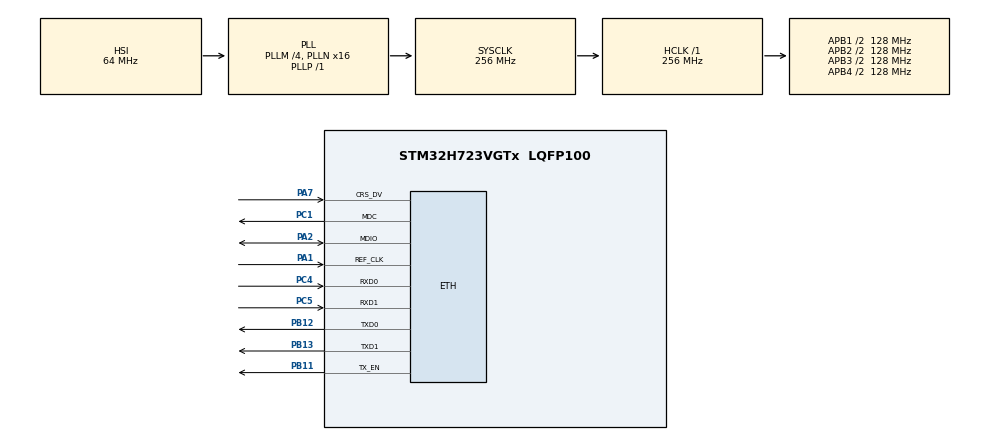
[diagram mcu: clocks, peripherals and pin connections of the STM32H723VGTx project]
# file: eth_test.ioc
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CORTEX_M7.AccessPermission_S-Cortex_Memory_Protection_Unit_Region1_Settings_S=MPU_REGION_FULL_ACCESS
CORTEX_M7.AccessPermission_S-Cortex_Memory_Protection_Unit_Region2_Settings_S=MPU_REGION_FULL_ACCESS
CORTEX_M7.BaseAddress_S-Cortex_Memory_Protection_Unit_Region1_Settings_S=0x30000000
CORTEX_M7.BaseAddress_S-Cortex_Memory_Protection_Unit_Region2_Settings_S=0x30000000
CORTEX_M7.CPU_DCache=Enabled
CORTEX_M7.CPU_ICache=Enabled
CORTEX_M7.DisableExec_S-Cortex_Memory_Protection_Unit_Region1_Settings_S=MPU_INSTRUCTION_ACCESS_DISABLE
CORTEX_M7.DisableExec_S-Cortex_Memory_Protection_Unit_Region2_Settings_S=MPU_INSTRUCTION_ACCESS_DISABLE
CORTEX_M7.Enable_S-Cortex_Memory_Protection_Unit_Region1_Settings_S=MPU_REGION_ENABLE
CORTEX_M7.Enable_S-Cortex_Memory_Protection_Unit_Region2_Settings_S=MPU_REGION_ENABLE
CORTEX_M7.IsBufferable_S-Cortex_Memory_Protection_Unit_Region2_Settings_S=MPU_ACCESS_BUFFERABLE
CORTEX_M7.IsShareable_S-Cortex_Memory_Protection_Unit_Region2_Settings_S=MPU_ACCESS_SHAREABLE
CORTEX_M7.Size_S-Cortex_Memory_Protection_Unit_Region1_Settings_S=MPU_REGION_SIZE_32KB
CORTEX_M7.Size_S-Cortex_Memory_Protection_Unit_Region2_Settings_S=MPU_REGION_SIZE_512B
CORTEX_M7.TypeExtField_S-Cortex_Memory_Protection_Unit_Region1_Settings_S=MPU_TEX_LEVEL1
CORTEX_M7.default_mode_Activation=1
ETH.MACAddr=68\:80\:E1\:00\:00\:00
ETH.MediaInterface=HAL_ETH_RMII_MODE
ETH.TxDescAddress=0x30000100
FREERTOS.INCLUDE_eTaskGetState=1
FREERTOS.Tasks01=defaultTask,0,1024,StartDefaultTask,Default,NULL,Dynamic,NULL,NULL;EtherRecvTask,-3,128,StartEtherRecv,Default,NULL,Dynamic,NULL,NULL
FREERTOS.configENABLE_FPU=1
FREERTOS.configGENERATE_RUN_TIME_STATS=1
FREERTOS.configRECORD_STACK_HIGH_ADDRESS=1
FREERTOS.configTOTAL_HEAP_SIZE=32768
FREERTOS.configUSE_STATS_FORMATTING_FUNCTIONS=1
FREERTOS.configUSE_TRACE_FACILITY=1
LWIP.BSP.number=1
LWIP.GATEWAY_ADDRESS=192.168.008.001
LWIP.IP_ADDRESS=192.168.008.005
LWIP.LWIP_DHCP=0
LWIP.LWIP_RAM_HEAP_POINTER=0x30005000
LWIP.LWIP_UDP=0
LWIP.MEM_SIZE=10000
LWIP.NETMASK_ADDRESS=255.255.255.000
LWIP.Version=v2.1.2_Cube
LWIP0.BSP.STBoard=false
LWIP0.BSP.api=BSP_COMPONENT_DRIVER
LWIP0.BSP.component=LAN8742
LWIP0.BSP.instance=LAN8742
LWIP0.BSP.name=Driver_PHY
LWIP0.BSP.semaphore=S_LAN8742
LWIP0.BSP.solution=LAN8742
Mcu.Family=STM32H7
Mcu.Name=STM32H723VGTx
Mcu.Package=LQFP100
NVIC.ETH_IRQn=true\:5\:0\:false\:false\:true\:true\:true\:true\:true
NVIC.PriorityGroup=NVIC_PRIORITYGROUP_4
NVIC.TIM2_IRQn=true\:15\:0\:false\:false\:true\:false\:false\:true\:true
NVIC.TIM3_IRQn=true\:5\:0\:true\:false\:true\:true\:true\:true\:true
NVIC.TimeBase=TIM2_IRQn
NVIC.TimeBaseIP=TIM2
PA1.GPIO_Speed=GPIO_SPEED_FREQ_VERY_HIGH
PA1.Mode=RMII
PA1.Signal=ETH_REF_CLK
PA13(JTMS/SWDIO).Mode=Serial_Wire
PA13(JTMS/SWDIO).Signal=DEBUG_JTMS-SWDIO
PA14(JTCK/SWCLK).Mode=Serial_Wire
PA14(JTCK/SWCLK).Signal=DEBUG_JTCK-SWCLK
PA2.GPIO_Speed=GPIO_SPEED_FREQ_VERY_HIGH
PA2.Mode=RMII
PA2.Signal=ETH_MDIO
PA7.GPIO_Speed=GPIO_SPEED_FREQ_VERY_HIGH
PA7.Mode=RMII
PA7.Signal=ETH_CRS_DV
PB11.GPIO_Speed=GPIO_SPEED_FREQ_VERY_HIGH
PB11.Mode=RMII
PB11.Signal=ETH_TX_EN
PB12.GPIO_Speed=GPIO_SPEED_FREQ_VERY_HIGH
PB12.Mode=RMII
PB12.Signal=ETH_TXD0
PB13.GPIO_Speed=GPIO_SPEED_FREQ_VERY_HIGH
PB13.Mode=RMII
PB13.Signal=ETH_TXD1
PC1.GPIO_Speed=GPIO_SPEED_FREQ_VERY_HIGH
PC1.Mode=RMII
PC1.Signal=ETH_MDC
PC4.GPIO_Speed=GPIO_SPEED_FREQ_VERY_HIGH
PC4.Mode=RMII
PC4.Signal=ETH_RXD0
PC5.GPIO_Speed=GPIO_SPEED_FREQ_VERY_HIGH
PC5.Mode=RMII
PC5.Signal=ETH_RXD1
PH0-OSC_IN.Mode=HSE-External-Oscillator
PH0-OSC_IN.Signal=RCC_OSC_IN
PH1-OSC_OUT.Mode=HSE-External-Oscillator
PH1-OSC_OUT.Signal=RCC_OSC_OUT
ProjectManager.HeapSize=0x1500
ProjectManager.StackSize=0x800
ProjectManager.TargetToolchain=Makefile
RCC.ADCFreq_Value=129000000
RCC.APB1Freq_Value=128000000
RCC.APB2Freq_Value=128000000
RCC.APB3Freq_Value=128000000
RCC.APB4Freq_Value=128000000
RCC.CortexFreq_Value=256000000
RCC.D1PPRE=RCC_APB3_DIV2
RCC.D2PPRE1=RCC_APB1_DIV2
RCC.D2PPRE2=RCC_APB2_DIV2
RCC.D3PPRE=RCC_APB4_DIV2
RCC.DIVM1=4
RCC.DIVN1=16
RCC.DIVP1=1
RCC.HCLKFreq_Value=256000000
RCC.HSICalibrationValue=32
RCC.PLL2FRACN=0
RCC.PLL3FRACN=0
RCC.PLLFRACN=0
RCC.PWR_Regulator_Voltage_Scale=PWR_REGULATOR_VOLTAGE_SCALE0
RCC.SYSCLKFreq_VALUE=256000000
RCC.SYSCLKSource=RCC_SYSCLKSOURCE_PLLCLK
RCC.USBFreq_Value=128000000
TIM3.AutoReloadPreload=TIM_AUTORELOAD_PRELOAD_ENABLE
TIM3.Period=50-1
TIM3.Prescaler=256-1
VP_FREERTOS_VS_CMSIS_V1.Mode=CMSIS_V1
VP_LWIP_VS_Enabled.Mode=Enabled
VP_SYS_VS_tim2.Mode=TIM2
VP_TIM3_VS_ClockSourceINT.Mode=Internal
board=custom

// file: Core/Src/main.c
/* USER CODE BEGIN Header */
/**
  ******************************************************************************
  * @file           : main.c
  * @brief          : Main program body
  ******************************************************************************
  * @attention
  *
  * Copyright (c) 2023 STMicroelectronics.
  * All rights reserved.
  *
  * This software is licensed under terms that can be found in the LICENSE file
  * in the root directory of this software component.
  * If no LICENSE file comes with this software, it is provided AS-IS.
  *
  ******************************************************************************
  */
/* USER CODE END Header */
#include "main.h"
#include "cmsis_os.h"
#include "lwip.h"
#include "tim.h"
#include "gpio.h"

/* USER CODE BEGIN Includes */
#include "bsp_log.h"
#include "tim_for_freertos.h"
/* USER CODE END Includes */

void SystemClock_Config(void);
static void MPU_Initialize(void);
static void MPU_Config(void);
void MX_FREERTOS_Init(void);
/* USER CODE BEGIN PFP */
// #define printf(...) print_log(sprintf((char*)u_buf,__VA_ARGS__))
/* USER CODE END PFP */

int main(void)
{

  /* Enable I-Cache---------------------------------------------------------*/
  SCB_EnableICache();

  /* Enable D-Cache---------------------------------------------------------*/
  SCB_EnableDCache();

  /* MCU Configuration--------------------------------------------------------*/

  /* Reset of all peripherals, Initializes the Flash interface and the Systick. */
  HAL_Init();

  /* MPU Configuration--------------------------------------------------------*/
  MPU_Config();

  /* Configure the system clock */
  SystemClock_Config();

  /* Initialize all configured peripherals */
  MX_GPIO_Init();
  MX_TIM3_Init();
  /* USER CODE BEGIN 2 */
  segger_rtt_init("RTT INIT\n");
  SEGGER_SYSVIEW_Conf();
  // printf("test\n");
  // LWIP_ASSERT("netif != NULL", (0));
  // LWIP_DEBUGF("as\n");
  // fputc(1)
  /* USER CODE END 2 */

  /* Call init function for freertos objects (in freertos.c) */
  MX_FREERTOS_Init();

  /* Start scheduler */
  osKernelStart();

  /* We should never get here as control is now taken by the scheduler */
  /* Infinite loop */
  while (1)
  {

    /* USER CODE BEGIN 3 */
    // MX_LWIP_Process();
  }
  /* USER CODE END 3 */
}

void SystemClock_Config(void)
{
  RCC_OscInitTypeDef RCC_OscInitStruct = {0};
  RCC_ClkInitTypeDef RCC_ClkInitStruct = {0};

  /** Supply configuration update enable
  */
  HAL_PWREx_ConfigSupply(PWR_LDO_SUPPLY);

  /** Configure the main internal regulator output voltage
  */
  __HAL_PWR_VOLTAGESCALING_CONFIG(PWR_REGULATOR_VOLTAGE_SCALE0);

  while(!__HAL_PWR_GET_FLAG(PWR_FLAG_VOSRDY)) {}

  /** Initializes the RCC Oscillators according to the specified parameters
  * in the RCC_OscInitTypeDef structure.
  */
  RCC_OscInitStruct.OscillatorType = RCC_OSCILLATORTYPE_HSI;
  RCC_OscInitStruct.HSIState = RCC_HSI_DIV1;
  RCC_OscInitStruct.HSICalibrationValue = RCC_HSICALIBRATION_DEFAULT;
  RCC_OscInitStruct.PLL.PLLState = RCC_PLL_ON;
  RCC_OscInitStruct.PLL.PLLSource = RCC_PLLSOURCE_HSI;
  RCC_OscInitStruct.PLL.PLLM = 4;
  RCC_OscInitStruct.PLL.PLLN = 16;
  RCC_OscInitStruct.PLL.PLLP = 1;
  RCC_OscInitStruct.PLL.PLLQ = 2;
  RCC_OscInitStruct.PLL.PLLR = 2;
  RCC_OscInitStruct.PLL.PLLRGE = RCC_PLL1VCIRANGE_3;
  RCC_OscInitStruct.PLL.PLLVCOSEL = RCC_PLL1VCOWIDE;
  RCC_OscInitStruct.PLL.PLLFRACN = 0;
  if (HAL_RCC_OscConfig(&RCC_OscInitStruct) != HAL_OK)
  {
    Error_Handler();
  }

  /** Initializes the CPU, AHB and APB buses clocks
  */
  RCC_ClkInitStruct.ClockType = RCC_CLOCKTYPE_HCLK|RCC_CLOCKTYPE_SYSCLK
                              |RCC_CLOCKTYPE_PCLK1|RCC_CLOCKTYPE_PCLK2
                              |RCC_CLOCKTYPE_D3PCLK1|RCC_CLOCKTYPE_D1PCLK1;
  RCC_ClkInitStruct.SYSCLKSource = RCC_SYSCLKSOURCE_PLLCLK;
  RCC_ClkInitStruct.SYSCLKDivider = RCC_SYSCLK_DIV1;
  RCC_ClkInitStruct.AHBCLKDivider = RCC_HCLK_DIV1;
  RCC_ClkInitStruct.APB3CLKDivider = RCC_APB3_DIV2;
  RCC_ClkInitStruct.APB1CLKDivider = RCC_APB1_DIV2;
  RCC_ClkInitStruct.APB2CLKDivider = RCC_APB2_DIV2;
  RCC_ClkInitStruct.APB4CLKDivider = RCC_APB4_DIV2;

  if (HAL_RCC_ClockConfig(&RCC_ClkInitStruct, FLASH_LATENCY_3) != HAL_OK)
  {
    Error_Handler();
  }
}

/* MPU Configuration */

void MPU_Config(void)
{
  MPU_Region_InitTypeDef MPU_InitStruct = {0};

  /* Disables the MPU */
  HAL_MPU_Disable();

  /** Initializes and configures the Region and the memory to be protected
  */
  MPU_InitStruct.Enable = MPU_REGION_ENABLE;
  MPU_InitStruct.Number = MPU_REGION_NUMBER0;
  MPU_InitStruct.BaseAddress = 0x0;
  MPU_InitStruct.Size = MPU_REGION_SIZE_4GB;
  MPU_InitStruct.SubRegionDisable = 0x87;
  MPU_InitStruct.TypeExtField = MPU_TEX_LEVEL0;
  MPU_InitStruct.AccessPermission = MPU_REGION_NO_ACCESS;
  MPU_InitStruct.DisableExec = MPU_INSTRUCTION_ACCESS_DISABLE;
  MPU_InitStruct.IsShareable = MPU_ACCESS_SHAREABLE;
  MPU_InitStruct.IsCacheable = MPU_ACCESS_NOT_CACHEABLE;
  MPU_InitStruct.IsBufferable = MPU_ACCESS_NOT_BUFFERABLE;

  HAL_MPU_ConfigRegion(&MPU_InitStruct);

  /** Initializes and configures the Region and the memory to be protected
  */
  MPU_InitStruct.Number = MPU_REGION_NUMBER1;
  MPU_InitStruct.BaseAddress = 0x30000000;
  MPU_InitStruct.Size = MPU_REGION_SIZE_32KB;
  MPU_InitStruct.SubRegionDisable = 0x0;
  MPU_InitStruct.TypeExtField = MPU_TEX_LEVEL1;
  MPU_InitStruct.AccessPermission = MPU_REGION_FULL_ACCESS;
  MPU_InitStruct.IsShareable = MPU_ACCESS_NOT_SHAREABLE;

  HAL_MPU_ConfigRegion(&MPU_InitStruct);

  /** Initializes and configures the Region and the memory to be protected
  */
  MPU_InitStruct.Number = MPU_REGION_NUMBER2;
  MPU_InitStruct.Size = MPU_REGION_SIZE_512B;
  MPU_InitStruct.TypeExtField = MPU_TEX_LEVEL0;
  MPU_InitStruct.IsShareable = MPU_ACCESS_SHAREABLE;
  MPU_InitStruct.IsBufferable = MPU_ACCESS_BUFFERABLE;

  HAL_MPU_ConfigRegion(&MPU_InitStruct);
  /* Enables the MPU */
  HAL_MPU_Enable(MPU_PRIVILEGED_DEFAULT);

}

void HAL_TIM_PeriodElapsedCallback(TIM_HandleTypeDef *htim)
{
  if (htim->Instance == TIM2) {
    HAL_IncTick();
  }
  /* USER CODE BEGIN Callback 1 */
  if (htim->Instance == TIM3) {
    BSP_TIM_PeriodElapsedCallback(htim);
  }
  /* USER CODE END Callback 1 */
}

void Error_Handler(void)
{
  __disable_irq();
  while (1)
  {
  }
}

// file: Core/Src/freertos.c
/* USER CODE BEGIN Header */
/**
  ******************************************************************************
  * File Name          : freertos.c
  * Description        : Code for freertos applications
  ******************************************************************************
  * @attention
  *
  * Copyright (c) 2023 STMicroelectronics.
  * All rights reserved.
  *
  * This software is licensed under terms that can be found in the LICENSE file
  * in the root directory of this software component.
  * If no LICENSE file comes with this software, it is provided AS-IS.
  *
  ******************************************************************************
  */
/* USER CODE END Header */

#include "FreeRTOS.h"
#include "task.h"
#include "main.h"
#include "cmsis_os.h"

/* USER CODE BEGIN Includes */
#include "netif.h"
#include "tcpecho.h"
#include "tcp_client.h"
#include "string.h"
#include "colorful_log.h"
/* USER CODE END Includes */

osThreadId defaultTaskHandle;
osThreadId EtherRecvTaskHandle;

void StartDefaultTask(void const * argument);
void StartEtherRecv(void const * argument);

extern void MX_LWIP_Init(void);
void MX_FREERTOS_Init(void); /* (MISRA C 2004 rule 8.1) */

/* GetIdleTaskMemory prototype (linked to static allocation support) */
void vApplicationGetIdleTaskMemory( StaticTask_t **ppxIdleTaskTCBBuffer, StackType_t **ppxIdleTaskStackBuffer, uint32_t *pulIdleTaskStackSize );

/* Hook prototypes */
void configureTimerForRunTimeStats(void);
unsigned long getRunTimeCounterValue(void);

/* USER CODE BEGIN 1 */
/* Functions needed when configGENERATE_RUN_TIME_STATS is on */
__weak void configureTimerForRunTimeStats(void)
{

}

__weak unsigned long getRunTimeCounterValue(void)
{
return 0;
}
/* USER CODE END 1 */

/* USER CODE BEGIN GET_IDLE_TASK_MEMORY */
static StaticTask_t xIdleTaskTCBBuffer;
static StackType_t xIdleStack[configMINIMAL_STACK_SIZE];

void vApplicationGetIdleTaskMemory( StaticTask_t **ppxIdleTaskTCBBuffer, StackType_t **ppxIdleTaskStackBuffer, uint32_t *pulIdleTaskStackSize )
{
  *ppxIdleTaskTCBBuffer = &xIdleTaskTCBBuffer;
  *ppxIdleTaskStackBuffer = &xIdleStack[0];
  *pulIdleTaskStackSize = configMINIMAL_STACK_SIZE;
  /* place for user code */
}
/* USER CODE END GET_IDLE_TASK_MEMORY */

void MX_FREERTOS_Init(void) {

  /* Create the thread(s) */
  /* definition and creation of defaultTask */
  osThreadDef(defaultTask, StartDefaultTask, osPriorityNormal, 0, 1024);
  defaultTaskHandle = osThreadCreate(osThread(defaultTask), NULL);

  /* definition and creation of EtherRecvTask */
  osThreadDef(EtherRecvTask, StartEtherRecv, osPriorityIdle, 0, 128);
  EtherRecvTaskHandle = osThreadCreate(osThread(EtherRecvTask), NULL);

  /* USER CODE BEGIN RTOS_THREADS */
  // tcpecho_init();
  /* add threads, ... */
  /* USER CODE END RTOS_THREADS */

}

void StartDefaultTask(void const * argument)
{
  /* init code for LWIP */
  MX_LWIP_Init();
  /* USER CODE BEGIN StartDefaultTask */
  tcpecho_init();
  TCPClientTaskCreate();
  static TaskHandle_t tcp_echo_task;
  extern struct netif gnetif; // TODO: 改掉extern
  /* Infinite loop */
  for(;;)
  {
    if(((!tcp_echo_task) || (eTaskGetState(tcp_echo_task) == eDeleted)) && netif_is_link_up(&gnetif))
    {
      tcp_echo_task = tcpecho_init();
      // printf("%ld\n",(uint32_t)tcp_echo_task);
    }
    osDelay(1000);
  }
  /* USER CODE END StartDefaultTask */
}

void StartEtherRecv(void const * argument)
{
  /* USER CODE BEGIN StartEtherRecv */
  /* Infinite loop */
  for(;;)
  {
    // memset(RunTimeInfo,0,400);				//信息缓冲区清�?
    // vTaskGetRunTimeStats(RunTimeInfo);		//获取任务运行时间信息
    // printf("TaskName\tRuntime\tPercent\r\n");
    // // printf("%s\r\n",RunTimeInfo);
    // uint8_t *p = (uint8_t*)RunTimeInfo;
    // for(; *p!=0;p++) {
    //   printf("%c", *p);
    // }
    LOGE("this");
    LOGW("is");
    LOGI("test");
    osDelay(1000);
  }
  /* USER CODE END StartEtherRecv */
}
